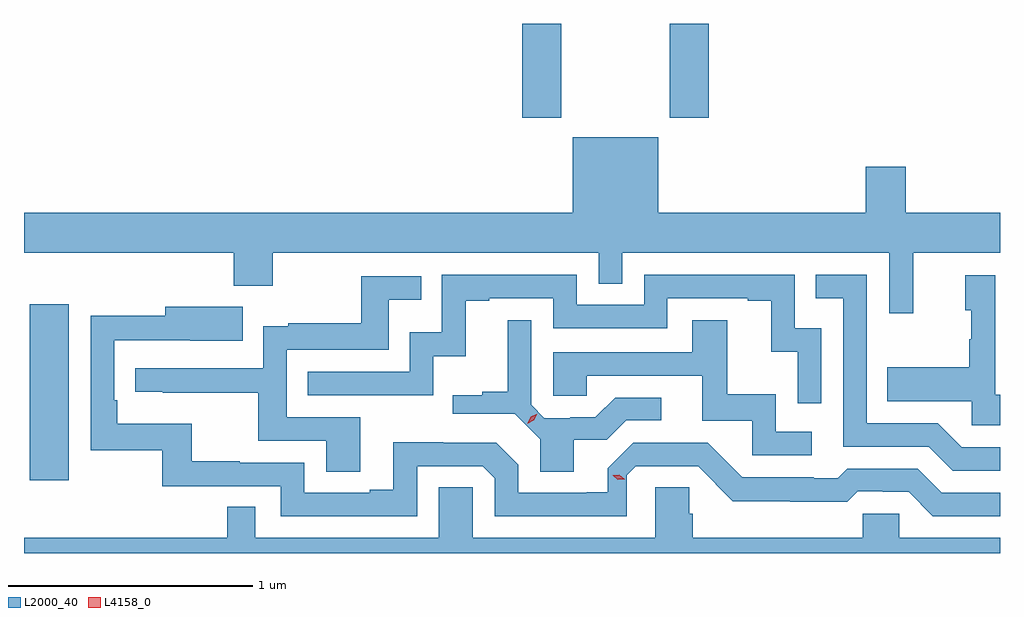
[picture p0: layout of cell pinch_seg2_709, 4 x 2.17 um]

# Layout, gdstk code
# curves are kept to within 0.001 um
import gdstk
lib = gdstk.Library(unit=1e-6, precision=1e-09)
def R(c, l, rs):  # rectangles x0, y0, x1, y1
    for r in rs: c.add(gdstk.rectangle(r[:2], r[2:], *l))
def P(c, l, *ps):  # polygons
    for p in ps: c.add(gdstk.Polygon(p, *l))
L2000_40 = (2000, 40)
L4158_0 = (4158, 0)

pinch_seg2_709 = lib.new_cell('pinch_seg2_709')
R(pinch_seg2_709, L2000_40, [(1132.61,584.1,1132.771,584.821), (1134.629,585.585,1134.789,585.972), (1135.234,585.585,1135.394,585.972)])
P(pinch_seg2_709, L2000_40, [(1136.231,585.032),(1136.587,585.032),(1136.587,585.196),(1136.2,585.196),(1136.2,585.385),(1136.036,585.385),(1136.036,585.196),(1135.186,585.196),(1135.186,585.505),(1134.836,585.505),(1134.836,585.196),(1132.587,585.196),(1132.587,585.032),(1133.447,585.032),(1133.447,584.897),(1133.607,584.897),(1133.607,585.032),(1134.942,585.032),(1134.942,584.905),(1135.038,584.905),(1135.038,585.032),(1136.133,585.032),(1136.133,584.784),(1136.231,584.784)],
  [(1136.587,584.235),(1136.43,584.235),(1136.331,584.334),(1136.04,584.334),(1136.04,584.943),(1135.831,584.943),(1135.831,584.847),(1135.944,584.847),(1135.944,584.238),(1136.294,584.238),(1136.393,584.139),(1136.587,584.139)],
  [(1135.854,584.724),(1135.746,584.724),(1135.746,584.943),(1135.128,584.943),(1135.128,584.82),(1134.852,584.82),(1134.852,584.943),(1134.3,584.943),(1134.3,584.707),(1134.168,584.707),(1134.168,584.544),(1133.749,584.544),(1133.749,584.448),(1134.264,584.448),(1134.264,584.609),(1134.397,584.609),(1134.397,584.835),(1134.493,584.835),(1134.493,584.847),(1134.756,584.847),(1134.756,584.724),(1135.224,584.724),(1135.224,584.847),(1135.553,584.847),(1135.553,584.835),(1135.649,584.835),(1135.649,584.627),(1135.758,584.627),(1135.758,584.415),(1135.854,584.415)],
  [(1136.587,584.45),(1136.568,584.45),(1136.568,584.941),(1136.444,584.941),(1136.444,584.796),(1136.47,584.796),(1136.47,584.678),(1136.46,584.678),(1136.46,584.563),(1136.125,584.563),(1136.125,584.423),(1136.472,584.423),(1136.472,584.325),(1136.587,584.325)],
  [(1133.965,584.358),(1133.664,584.358),(1133.664,584.634),(1134.081,584.634),(1134.081,584.84),(1134.215,584.84),(1134.215,584.937),(1133.97,584.937),(1133.97,584.743),(1133.671,584.743),(1133.671,584.731),(1133.568,584.731),(1133.568,584.559),(1133.043,584.559),(1133.043,584.463),(1133.155,584.463),(1133.155,584.458),(1133.548,584.458),(1133.548,584.262),(1133.825,584.262),(1133.825,584.134),(1133.965,584.134)],
  [(1134.198,584.157),(1134.468,584.157),(1134.516,584.109),(1134.516,583.953),(1135.058,583.953),(1135.058,584.121),(1135.094,584.157),(1135.35,584.157),(1135.492,584.015),(1135.728,584.015),(1135.728,584.013),(1135.961,584.013),(1136.003,584.055),(1136.106,584.055),(1136.106,584.052),(1136.213,584.052),(1136.312,583.953),(1136.587,583.953),(1136.587,584.049),(1136.349,584.049),(1136.25,584.148),(1135.961,584.148),(1135.922,584.109),(1135.823,584.109),(1135.823,584.112),(1135.53,584.112),(1135.389,584.253),(1135.083,584.253),(1134.98,584.15),(1134.98,584.051),(1134.893,584.051),(1134.893,584.049),(1134.612,584.049),(1134.612,584.163),(1134.522,584.253),(1134.306,584.253),(1134.306,584.255),(1134.101,584.255),(1134.101,584.062),(1134.005,584.062),(1134.005,584.049),(1133.736,584.049),(1133.736,584.172),(1133.471,584.172),(1133.471,584.177),(1133.275,584.177),(1133.275,584.332),(1132.97,584.332),(1132.97,584.428),(1132.956,584.428),(1132.956,584.673),(1133.483,584.672),(1133.483,584.812),(1133.165,584.812),(1133.165,584.774),(1132.86,584.774),(1132.86,584.223),(1133.154,584.223),(1133.154,584.076),(1133.64,584.076),(1133.64,583.953),(1134.198,583.953)],
  [(1134.841,584.266),(1134.976,584.266),(1135.056,584.346),(1135.198,584.346),(1135.198,584.439),(1135.01,584.439),(1134.929,584.358),(1134.825,584.358),(1134.825,584.355),(1134.72,584.355),(1134.666,584.409),(1134.666,584.755),(1134.569,584.755),(1134.569,584.462),(1134.465,584.462),(1134.465,584.448),(1134.345,584.448),(1134.345,584.373),(1134.598,584.373),(1134.702,584.269),(1134.702,584.134),(1134.841,584.134)],
  [(1135.816,584.298),(1135.668,584.298),(1135.668,584.452),(1135.469,584.452),(1135.469,584.755),(1135.325,584.755),(1135.325,584.625),(1134.756,584.625),(1134.756,584.446),(1134.893,584.446),(1134.893,584.529),(1135.367,584.529),(1135.367,584.343),(1135.572,584.343),(1135.572,584.202),(1135.816,584.202)],
  [(1136.587,583.864),(1136.175,583.864),(1136.175,583.962),(1136.025,583.962),(1136.025,583.864),(1135.328,583.864),(1135.328,583.962),(1135.313,583.962),(1135.313,584.072),(1135.175,584.072),(1135.175,583.864),(1134.426,583.864),(1134.426,584.072),(1134.287,584.072),(1134.287,583.864),(1133.535,583.864),(1133.535,583.991),(1133.419,583.991),(1133.419,583.864),(1132.587,583.864),(1132.587,583.8),(1136.587,583.8)])
P(pinch_seg2_709, L4158_0, [(1135.021,584.103),(1134.999,584.12),(1134.999,584.121),(1134.999,584.121),(1135.027,584.122),(1135.049,584.105),(1135.049,584.104),(1135.049,584.104)],
  [(1134.65,584.332),(1134.65,584.332),(1134.663,584.36),(1134.69,584.373),(1134.69,584.373),(1134.69,584.373),(1134.677,584.346),(1134.65,584.332)])

lib.write_gds('pinch_seg2_709.gds')
